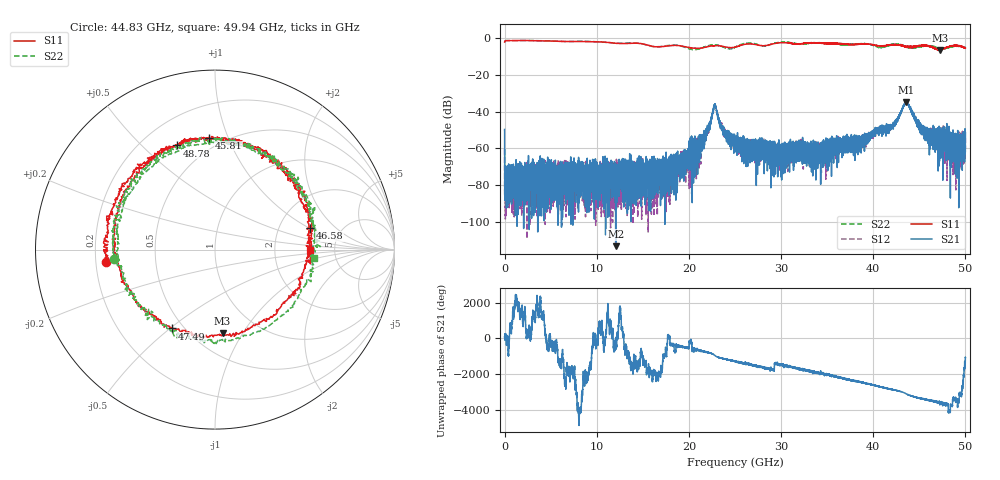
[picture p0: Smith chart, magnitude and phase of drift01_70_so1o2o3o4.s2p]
!Created with skrf (http://scikit-rf.org).
# Hz S RI R 50.0
!freq ReS11 ImS11 ReS21 ImS21 ReS12 ImS12 ReS22 ImS22
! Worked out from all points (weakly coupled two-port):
!   10001 points, 300 kHz to 50 GHz, reference 50 ohm
!   highest |S21| = -34.87 dB at 43.54 GHz (marker M1); lowest = -113.1 dB at 12.06 GHz (marker M2)
!   lowest |S11| = -6.6 dB at 47.26 GHz (marker M3), VSWR 2.77, Z = 34.3 - j41.1 ohm
!   |S11| at or under -10 dB: nowhere
!   |S22| runs from -6.4 to -1.4 dB; largest |S21 - S12| = 0.0038
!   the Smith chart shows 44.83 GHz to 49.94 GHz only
!   S11 on the Smith chart (normalised r, x): 44.83 GHz: 0.24, -0.05; 45.81 GHz: 0.42, +0.86; 46.58 GHz: 2.99, +1.03; 47.49 GHz: 0.43, -0.51; 48.78 GHz: 0.34, +0.64; 49.94 GHz: 3.23, -0.04
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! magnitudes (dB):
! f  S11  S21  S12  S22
! 300 kHz  -2.2  -49.7  -60.4  -2.1
! 265.3 MHz  -1.4  -73.6  -73.8  -1.4
! 8.335 GHz  -1.9  -74.8  -80.0  -1.8
! 12.06 GHz  -2.9  -113.1  -68.1  -2.8
! 16.67 GHz  -4.8  -75.3  -73.4  -4.8
! 20.71 GHz  -5.6  -75.0  -58.3  -6.3
! 21.53 GHz  -5.3  -53.2  -55.3  -5.2
! 22.81 GHz  -4.3  -36.2  -36.2  -4.0
! 23.84 GHz  -4.8  -51.9  -50.3  -5.1
! 25 GHz  -5.0  -53.8  -57.2  -5.0
! 29.97 GHz  -2.6  -63.7  -60.4  -2.3
! 33.34 GHz  -2.6  -57.3  -60.8  -2.6
! 41.67 GHz  -3.9  -47.6  -49.1  -4.0
! 43.54 GHz  -4.6  -34.9  -35.5  -4.7
! 44.83 GHz  -4.3  -46.4  -46.4  -5.0
! 45.81 GHz  -4.1  -52.9  -53.8  -4.3
! 46.58 GHz  -5.3  -53.4  -51.3  -4.9
! 47.26 GHz  -6.6  -58.3  -56.0  -5.9
! 47.49 GHz  -6.0  -51.1  -59.6  -6.0
! 48.78 GHz  -4.2  -57.6  -64.0  -4.7
! 49.94 GHz  -5.6  -53.4  -66.9  -5.2
! 50 GHz  -5.5  -51.4  -60.3  -5.3
